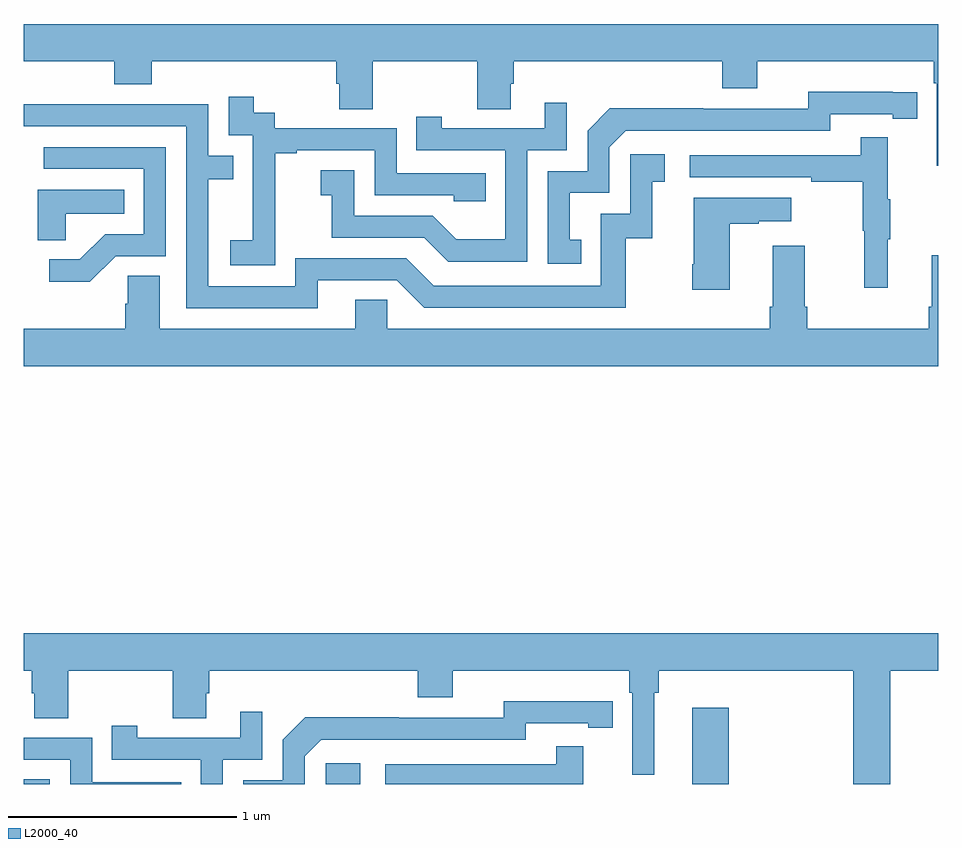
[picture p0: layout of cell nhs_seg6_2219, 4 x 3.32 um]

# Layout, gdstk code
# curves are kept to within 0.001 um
import gdstk
lib = gdstk.Library(unit=1e-6, precision=1e-09)
def R(c, l, rs):  # rectangles x0, y0, x1, y1
    for r in rs: c.add(gdstk.rectangle(r[:2], r[2:], *l))
def P(c, l, *ps):  # polygons
    for p in ps: c.add(gdstk.Polygon(p, *l))
L2000_40 = (2000, 40)

nhs_seg6_2219 = lib.new_cell('nhs_seg6_2219')
R(nhs_seg6_2219, L2000_40, [(243,953.5,243.114,953.521), (244.32,953.5,244.471,953.59), (245.924,953.5,246.083,953.833)])
P(nhs_seg6_2219, L2000_40, [(247,956.824),(243,956.824),(243,956.66),(243.395,956.66),(243.395,956.561),(243.56,956.561),(243.56,956.66),(244.367,956.66),(244.367,956.562),(244.379,956.562),(244.379,956.452),(244.527,956.452),(244.527,956.66),(244.984,956.66),(244.984,956.452),(245.131,956.452),(245.131,956.562),(245.144,956.562),(245.144,956.66),(246.056,956.66),(246.056,956.543),(246.208,956.543),(246.208,956.66),(246.98,956.66),(246.98,956.564),(246.993,956.564),(246.993,956.205),(247,956.205)],
  [(245.438,955.881),(245.389,955.881),(245.389,956.085),(245.562,956.085),(245.562,956.286),(245.634,956.358),(246.528,956.358),(246.528,956.43),(246.8,956.43),(246.8,956.41),(246.908,956.41),(246.908,956.526),(246.432,956.527),(246.432,956.454),(245.972,956.454),(245.972,956.456),(245.564,956.456),(245.466,956.358),(245.466,956.181),(245.292,956.181),(245.292,955.776),(245.438,955.776)],
  [(244.101,955.975),(244.1,955.975),(244.1,956.259),(244.195,956.259),(244.195,956.271),(244.536,956.271),(244.536,956.076),(244.881,956.076),(244.881,956.049),(245.021,956.049),(245.021,956.172),(244.632,956.172),(244.632,956.367),(244.098,956.367),(244.098,956.436),(244.006,956.436),(244.006,956.506),(243.897,956.506),(243.897,956.337),(244.002,956.337),(244.002,956.108),(244.001,956.108),(244.001,955.879),(243.903,955.879),(243.903,955.769),(244.101,955.769)],
  [(245.202,956.271),(245.376,956.271),(245.376,956.479),(245.279,956.479),(245.279,956.367),(244.828,956.367),(244.828,956.419),(244.717,956.419),(244.717,956.271),(245.106,956.271),(245.106,955.882),(244.892,955.882),(244.788,955.986),(244.446,955.986),(244.446,956.185),(244.299,956.185),(244.299,956.075),(244.348,956.075),(244.348,955.89),(244.751,955.89),(244.856,955.785),(245.202,955.785)],
  [(244.285,955.704),(244.632,955.704),(244.752,955.584),(245.632,955.584),(245.632,955.887),(245.75,955.887),(245.75,956.133),(245.803,956.133),(245.803,956.254),(245.652,956.254),(245.652,955.995),(245.523,955.995),(245.523,955.68),(244.794,955.68),(244.674,955.8),(244.188,955.8),(244.188,955.677),(243.807,955.677),(243.807,956.146),(243.917,956.146),(243.917,956.247),(243.807,956.247),(243.807,956.472),(243.311,956.472),(243.311,956.474),(243,956.474),(243,956.376),(243.711,956.376),(243.711,955.581),(244.285,955.581)],
  [(246.779,955.883),(246.79,955.883),(246.79,956.057),(246.779,956.057),(246.779,956.329),(246.661,956.329),(246.661,956.25),(245.913,956.25),(245.913,956.154),(246.445,956.154),(246.445,956.134),(246.669,956.134),(246.669,955.92),(246.676,955.92),(246.676,955.671),(246.779,955.671)],
  [(243.402,955.809),(243.621,955.809),(243.621,956.286),(243.087,956.286),(243.087,956.19),(243.525,956.19),(243.525,955.905),(243.356,955.905),(243.245,955.794),(243.111,955.794),(243.111,955.697),(243.289,955.697)],
  [(243.183,955.994),(243.44,955.994),(243.44,956.098),(243.062,956.098),(243.062,955.879),(243.183,955.879)],
  [(246.088,955.951),(246.215,955.951),(246.215,955.961),(246.358,955.961),(246.358,956.065),(245.93,956.065),(245.93,955.774),(245.923,955.774),(245.923,955.662),(246.088,955.662)],
  [(247,955.813),(246.971,955.813),(246.971,955.588),(246.959,955.588),(246.959,955.492),(246.428,955.492),(246.428,955.588),(246.415,955.588),(246.415,955.855),(246.275,955.855),(246.275,955.588),(246.263,955.588),(246.263,955.492),(244.59,955.492),(244.59,955.619),(244.451,955.619),(244.451,955.492),(243.595,955.492),(243.595,955.724),(243.456,955.724),(243.456,955.601),(243.443,955.601),(243.443,955.492),(243,955.492),(243,955.328),(247,955.328)],
  [(246.789,953.996),(247,953.996),(247,954.16),(243,954.16),(243,953.996),(243.035,953.996),(243.035,953.898),(243.047,953.898),(243.047,953.788),(243.195,953.788),(243.195,953.996),(243.652,953.996),(243.652,953.788),(243.799,953.788),(243.799,953.898),(243.812,953.898),(243.812,953.996),(244.724,953.996),(244.724,953.879),(244.876,953.879),(244.876,953.996),(245.648,953.996),(245.648,953.9),(245.661,953.9),(245.661,953.541),(245.758,953.541),(245.758,953.9),(245.777,953.9),(245.777,953.996),(246.629,953.996),(246.629,953.5),(246.789,953.5)],
  [(244.23,953.622),(244.302,953.694),(245.196,953.694),(245.196,953.766),(245.468,953.766),(245.468,953.746),(245.576,953.746),(245.576,953.862),(245.1,953.863),(245.1,953.79),(244.64,953.79),(244.64,953.792),(244.232,953.792),(244.134,953.694),(244.134,953.517),(243.96,953.517),(243.96,953.5),(244.23,953.5)],
  [(243.87,953.607),(244.044,953.607),(244.044,953.815),(243.947,953.815),(243.947,953.703),(243.496,953.703),(243.496,953.755),(243.385,953.755),(243.385,953.607),(243.774,953.607),(243.774,953.5),(243.87,953.5)],
  [(243.689,953.508),(243.3,953.508),(243.3,953.703),(243,953.703),(243,953.607),(243.204,953.607),(243.204,953.5),(243.689,953.5)],
  [(245.447,953.665),(245.329,953.665),(245.329,953.586),(244.581,953.586),(244.581,953.5),(245.447,953.5)])

lib.write_gds('nhs_seg6_2219.gds')
